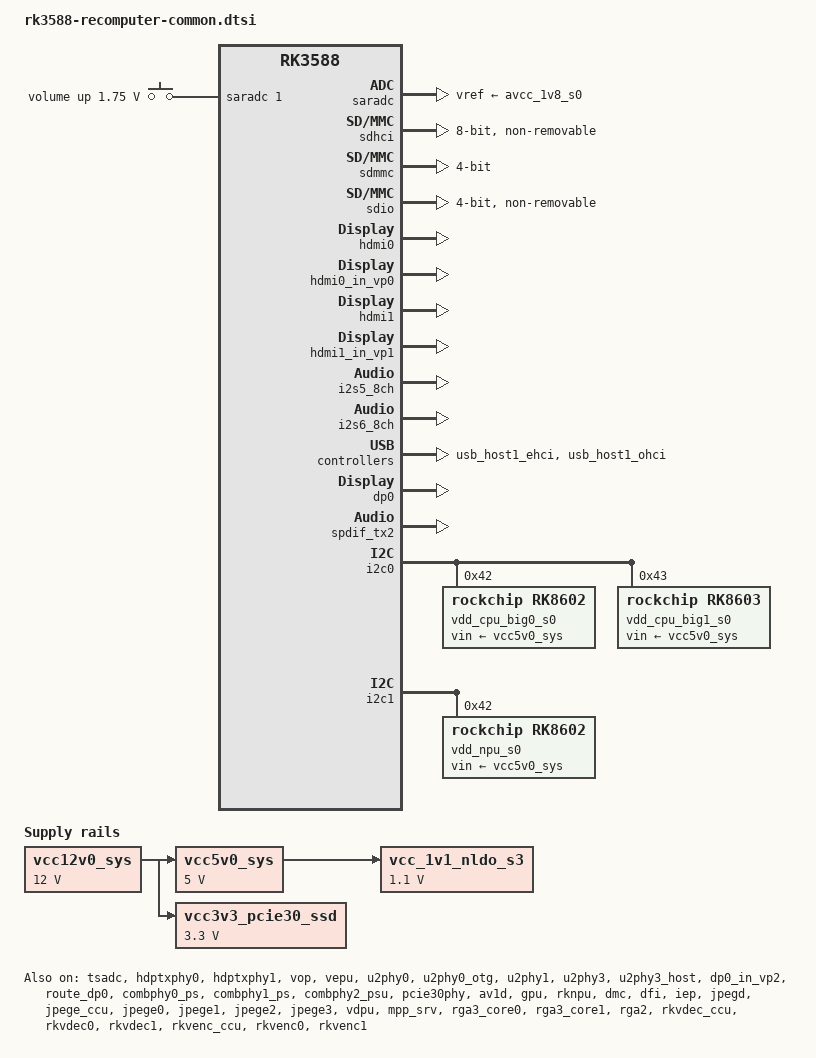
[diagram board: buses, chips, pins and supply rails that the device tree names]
// SPDX-License-Identifier: (GPL-2.0+ OR MIT)
/*
 * Copyright (c) 2024 Rockchip Electronics Co., Ltd.
 * Copyright (c) 2024 Radxa Computer (Shenzhen) Co., Ltd.
 *
 * ReComputer RK3588 family common bits: power tree (incl. the RK806 PMIC
 * include and the discrete big-core/NPU regulators), SoC IP enables and
 * the display / storage / audio framework. Pin assignments, power
 * switches and devices tied to one specific board (Type-C controller,
 * codecs, fan, WiFi/BT module, PCIe wiring, 40-pin header naming) stay
 * in the per-board dts.
 */

#include <dt-bindings/gpio/gpio.h>
#include <dt-bindings/leds/common.h>
#include <dt-bindings/pwm/pwm.h>
#include <dt-bindings/pinctrl/rockchip.h>
#include <dt-bindings/input/rk-input.h>
#include <dt-bindings/display/drm_mipi_dsi.h>
#include <dt-bindings/display/rockchip_vop.h>
#include <dt-bindings/sensor-dev.h>
#include "dt-bindings/usb/pd.h"
#include "rk3588.dtsi"
#include "rk3588-rk806-single.dtsi"
#include "rk3588-linux.dtsi"

/ {
	adc-keys {
		compatible = "adc-keys";
		io-channels = <&saradc 1>;
		io-channel-names = "buttons";
		keyup-threshold-microvolt = <1800000>;
		status = "okay";

		volumeup-key {
			linux,code = <KEY_VOLUMEUP>;
			label = "volume up";
			press-threshold-microvolt = <1750000>;
		};
	};

	vcc12v0_sys: vcc12v-dcin {
		compatible = "regulator-fixed";
		regulator-name = "vcc12v0_sys";
		regulator-always-on;
		regulator-boot-on;
		regulator-min-microvolt = <12000000>;
		regulator-max-microvolt = <12000000>;
	};

	vcc5v0_sys: vcc5v0-sys {
		compatible = "regulator-fixed";
		regulator-name = "vcc5v0_sys";
		regulator-always-on;
		regulator-boot-on;
		regulator-min-microvolt = <5000000>;
		regulator-max-microvolt = <5000000>;
		vin-supply = <&vcc12v0_sys>;
	};

	vcc_1v1_nldo_s3: vcc-1v1-nldo-s3 {
		compatible = "regulator-fixed";
		regulator-name = "vcc_1v1_nldo_s3";
		regulator-always-on;
		regulator-boot-on;
		regulator-min-microvolt = <1100000>;
		regulator-max-microvolt = <1100000>;
		vin-supply = <&vcc5v0_sys>;
	};

	vcc3v3_pcie30_ssd: vcc3v3-pcie30-ssd-regulator {
		regulator-boot-on;
		regulator-always-on;
		compatible = "regulator-fixed";
		regulator-name = "vcc3v3_pcie30_ssd";
		regulator-min-microvolt = <3300000>;
		regulator-max-microvolt = <3300000>;
		// startup-delay-us = <5000>;
		vin-supply = <&vcc12v0_sys>;
	};

	hdmi0_sound: hdmi0-sound {
		status = "okay";
		compatible = "rockchip,hdmi";
		rockchip,mclk-fs = <128>;
		rockchip,card-name = "rockchip-hdmi0";
		rockchip,cpu = <&i2s5_8ch>;
		rockchip,codec = <&hdmi0>;
		rockchip,jack-det;
	};

	hdmi1_sound: hdmi1-sound {
		status = "okay";
		compatible = "rockchip,hdmi";
		rockchip,mclk-fs = <128>;
		rockchip,card-name = "rockchip-hdmi1";
		rockchip,cpu = <&i2s6_8ch>;
		rockchip,codec = <&hdmi1>;
		rockchip,jack-det;
	};

	dp0_sound: dp0-sound {
		status = "okay";
		compatible = "rockchip,hdmi";
		rockchip,card-name= "rockchip-hdmi2";
		rockchip,mclk-fs = <512>;
		rockchip,cpu = <&spdif_tx2>;
		rockchip,codec = <&dp0 1>;
		rockchip,jack-det;
	};
};

&saradc {
	status = "okay";
	vref-supply = <&avcc_1v8_s0>;
};

/***************** storage **************************/
&sdhci {
	bus-width = <8>;
	no-sdio;
	no-sd;
	non-removable;
	max-frequency = <150000000>;
	mmc-hs200-1_8v;
};

&sdmmc {
        max-frequency = <115000000>;
        no-sdio;
        no-mmc;
        bus-width = <4>;
        cap-mmc-highspeed;
        cap-sd-highspeed;
        disable-wp;
        sd-uhs-sdr104;
        vqmmc-supply = <&vccio_sd_s0>;
        status = "okay";
};

&sdio {
	max-frequency = <100000000>;
	supports-sdio;
	bus-width = <4>;
	disable-wp;
	cap-sd-highspeed;
	cap-sdio-irq;
	keep-power-in-suspend;
	non-removable;
	num-slots = <1>;
	sd-uhs-sdr104;
	status = "okay";
};

&tsadc {
	status = "okay";
};

/***************** HDMI *****************************/
&display_subsystem {
	clocks = <&hdptxphy0>, <&hdptxphy1>;
	clock-names = "hdmi0_phy_pll", "hdmi1_phy_pll";

	route {
		route_hdmi0: route-hdmi0 {
			status = "okay";
			logo,uboot = "logo.bmp";
			logo,kernel = "logo_kernel.bmp";
			logo,mode = "center";
			charge_logo,mode = "center";
			connect = <&vp0_out_hdmi0>;
		};

		route_hdmi1: route-hdmi1 {
			status = "okay";
			logo,uboot = "logo.bmp";
			logo,kernel = "logo_kernel.bmp";
			logo,mode = "center";
			charge_logo,mode = "center";
			connect = <&vp1_out_hdmi1>;
		};
	};
};

&hdptxphy0 {
	status = "okay";
};

&hdptxphy1 {
	status = "okay";
};

&hdmi0 {
	status = "okay";
	cec-enable = "true";
	ddc-i2c-scl-high-time-ns = <9625>;
	ddc-i2c-scl-low-time-ns = <10000>;
};

&hdmi0_in_vp0 {
	status = "okay";
};

&hdmi1 {
	status = "okay";
	cec-enable = "true";
	ddc-i2c-scl-high-time-ns = <9625>;
	ddc-i2c-scl-low-time-ns = <10000>;
};

&hdmi1_in_vp1 {
	status = "okay";
};

&vop {
    status = "okay";
    disable-win-move;
    assigned-clocks = <&cru ACLK_VOP>;
    assigned-clock-rates = <800000000>;
};

&vop_mmu {
	status = "okay";
};

&vepu {
	status = "okay";
};

/* vp0 & vp1 splice for 8K output */
&vp0 {
    cursor-win-id=<ROCKCHIP_VOP2_ESMART0>;
    rockchip,plane-mask = <(1 << ROCKCHIP_VOP2_CLUSTER0 | 1 << ROCKCHIP_VOP2_ESMART0)>;
    rockchip,primary-plane = <ROCKCHIP_VOP2_CLUSTER0>;
};

&vp1 {
    cursor-win-id=<ROCKCHIP_VOP2_ESMART1>;
    rockchip,plane-mask = <(1 << ROCKCHIP_VOP2_CLUSTER1 | 1 << ROCKCHIP_VOP2_ESMART1)>;
    rockchip,primary-plane = <ROCKCHIP_VOP2_CLUSTER1>;
};

&vp2 {
    cursor-win-id=<ROCKCHIP_VOP2_ESMART2>;
    rockchip,plane-mask = <(1 << ROCKCHIP_VOP2_CLUSTER2 | 1 << ROCKCHIP_VOP2_ESMART2)>;
    rockchip,primary-plane = <ROCKCHIP_VOP2_CLUSTER2>;
};

&vp3 {
    cursor-win-id=<ROCKCHIP_VOP2_ESMART3>;
    rockchip,plane-mask = <(1 << ROCKCHIP_VOP2_CLUSTER3 | 1 << ROCKCHIP_VOP2_ESMART3)>;
    rockchip,primary-plane = <ROCKCHIP_VOP2_CLUSTER3>;
};

/********************** I2S **********************************/

&i2s5_8ch {
	status = "okay";
};

&i2s6_8ch {
	status = "okay";
};

/********************** USB *******************************/

// typec 1 (controller wiring and typec graph live in the board dts)
&u2phy0 {
    status = "okay";
};

&u2phy0_otg {
    rockchip,typec-vbus-det;
    status = "okay";
};

// typec 2 (phy only; otg supply and controller wiring in the board dts)
&u2phy1 {
    status = "okay";
};

// usb2.0 host2
&u2phy3 {
    status = "okay";
};

&u2phy3_host {
    status = "okay";
};

&usb_host1_ehci {
    status = "okay";
};

&usb_host1_ohci {
    status = "okay";
};

/******************DP************************/
&dp0 {
	status = "okay";
};

&dp0_in_vp2 {
	status = "okay";
};

&route_dp0 {
	status = "okay";
	connect = <&vp2_out_dp0>;
};

&spdif_tx2 {
	status = "okay";
};

/************************PCIE****************************/
&combphy0_ps {
	status = "okay";
};

&combphy1_ps {
	status = "okay";
};

&combphy2_psu {
    status = "okay";
};

&pcie30phy {
    rockchip,pcie30-phymode = <PHY_MODE_PCIE_AGGREGATION>;
    status = "okay";
};

/************************I2C****************************/
/* Big-core / NPU discrete regulators: family power architecture on the
 * reference-design i2c addresses; the board dts enables the buses. */
&i2c0 {

	vdd_cpu_big0_s0: vdd_cpu_big0_mem_s0: rk8602@42 {
		compatible = "rockchip,rk8602";
		reg = <0x42>;
		vin-supply = <&vcc5v0_sys>;
		regulator-compatible = "rk860x-reg";
		regulator-name = "vdd_cpu_big0_s0";
		regulator-min-microvolt = <550000>;
		regulator-max-microvolt = <1050000>;
		regulator-ramp-delay = <2300>;
		rockchip,suspend-voltage-selector = <1>;
		regulator-boot-on;
		regulator-always-on;
		regulator-state-mem {
			regulator-off-in-suspend;
		};
	};

	vdd_cpu_big1_s0: vdd_cpu_big1_mem_s0: rk8603@43 {
		compatible = "rockchip,rk8603";
		reg = <0x43>;
		vin-supply = <&vcc5v0_sys>;
		regulator-compatible = "rk860x-reg";
		regulator-name = "vdd_cpu_big1_s0";
		regulator-min-microvolt = <550000>;
		regulator-max-microvolt = <1050000>;
		regulator-ramp-delay = <2300>;
		rockchip,suspend-voltage-selector = <1>;
		regulator-boot-on;
		regulator-always-on;
		regulator-state-mem {
			regulator-off-in-suspend;
		};
	};
};

&i2c1 {

	vdd_npu_s0: vdd_npu_mem_s0: rk8602@42 {
		compatible = "rockchip,rk8602";
		reg = <0x42>;
		vin-supply = <&vcc5v0_sys>;
		regulator-compatible = "rk860x-reg";
		regulator-name = "vdd_npu_s0";
		regulator-min-microvolt = <550000>;
		regulator-max-microvolt = <950000>;
		regulator-ramp-delay = <2300>;
		rockchip,suspend-voltage-selector = <1>;
		regulator-boot-on;
		regulator-always-on;
		regulator-state-mem {
			regulator-off-in-suspend;
		};
	};
};

&rockchip_suspend {
	compatible = "rockchip,pm-rk3588";
	status = "okay";
	// 休眠log开关配置，0：关闭打印， 1：打开打印
	rockchip,sleep-debug-en = <1>;
	// 常规配置
	rockchip,sleep-mode-config = <
		(0
		| RKPM_SLP_ARMOFF_DDRPD
		| RKPM_SLP_PMU_PMUALIVE_32K
		| RKPM_SLP_PMU_DIS_OSC
		| RKPM_SLP_32K_EXT
		| RKPM_SLP_PMU_DBG
		)
	>;
	// 唤醒源配置
	rockchip,wakeup-config = <
		(0
		| RKPM_GPIO_WKUP_EN
		)
	>;
};

&av1d {
	status = "okay";
};

&av1d_mmu {
	status = "okay";
};

&cpu_l0 {
	cpu-supply = <&vdd_cpu_lit_s0>;
	mem-supply = <&vdd_cpu_lit_mem_s0>;
};

&cpu_b0 {
	cpu-supply = <&vdd_cpu_big0_s0>;
	mem-supply = <&vdd_cpu_big0_mem_s0>;
};

&cpu_b2 {
	cpu-supply = <&vdd_cpu_big1_s0>;
	mem-supply = <&vdd_cpu_big1_mem_s0>;
};

&gpu {
	mali-supply = <&vdd_gpu_s0>;
	mem-supply = <&vdd_gpu_mem_s0>;
	status = "okay";
};

&rknpu {
	rknpu-supply = <&vdd_npu_s0>;
	mem-supply = <&vdd_npu_mem_s0>;
	status = "okay";
};

&rknpu_mmu {
	status = "okay";
};

&dmc {
	center-supply = <&vdd_ddr_s0>;
	mem-supply = <&vdd_log_s0>;
	status = "okay";
};

&dfi {
	status = "okay";
};

&iep {
	status = "okay";
};

&iep_mmu {
	status = "okay";
};

&jpegd {
	status = "okay";
};

&jpegd_mmu {
	status = "okay";
};

&jpege_ccu {
	status = "okay";
};

&jpege0 {
	status = "okay";
};

&jpege0_mmu {
	status = "okay";
};

&jpege1 {
	status = "okay";
};

&jpege1_mmu {
	status = "okay";
};

&jpege2 {
	status = "okay";
};

&jpege2_mmu {
	status = "okay";
};

&jpege3 {
	status = "okay";
};

&jpege3_mmu {
	status = "okay";
};

&vdpu {
	status = "okay";
};

&vdpu_mmu {
	status = "okay";
};

&mpp_srv {
	status = "okay";
};

&rga3_core0 {
	status = "okay";
};

&rga3_0_mmu {
	status = "okay";
};

&rga3_core1 {
	status = "okay";
};

&rga3_1_mmu {
	status = "okay";
};

&rga2 {
	status = "okay";
};

&rkvdec_ccu {
	status = "okay";
};

&rkvdec0 {
	status = "okay";
};

&rkvdec0_mmu {
	status = "okay";
};

&rkvdec1 {
	status = "okay";
};

&rkvdec1_mmu {
	status = "okay";
};

&rkvenc_ccu {
	status = "okay";
};

&rkvenc0 {
	status = "okay";
};

&rkvenc0_mmu {
	status = "okay";
};

&rkvenc1 {
	status = "okay";
};

&rkvenc1_mmu {
	status = "okay";
};

&avdd_0v75_s0 {
	regulator-state-mem {
		regulator-on-in-suspend;
		regulator-suspend-microvolt = <837500>;
	};
};

&avcc_1v8_s0 {
	regulator-state-mem {
		regulator-on-in-suspend;
		regulator-suspend-microvolt = <1800000>;
	};
};

&vcc_1v8_s0 {
	regulator-state-mem {
		regulator-on-in-suspend;
		regulator-suspend-microvolt = <1800000>;
	};
};

&vcc_3v3_s0 {
	regulator-state-mem {
		regulator-on-in-suspend;
		regulator-suspend-microvolt = <3300000>;
	};
};

&vdd_log_s0 {
	regulator-state-mem {
		regulator-on-in-suspend;
		regulator-suspend-microvolt = <750000>;
	};
};

&vdd_ddr_pll_s0 {
	regulator-state-mem {
		regulator-on-in-suspend;
		regulator-suspend-microvolt = <850000>;
	};
};
